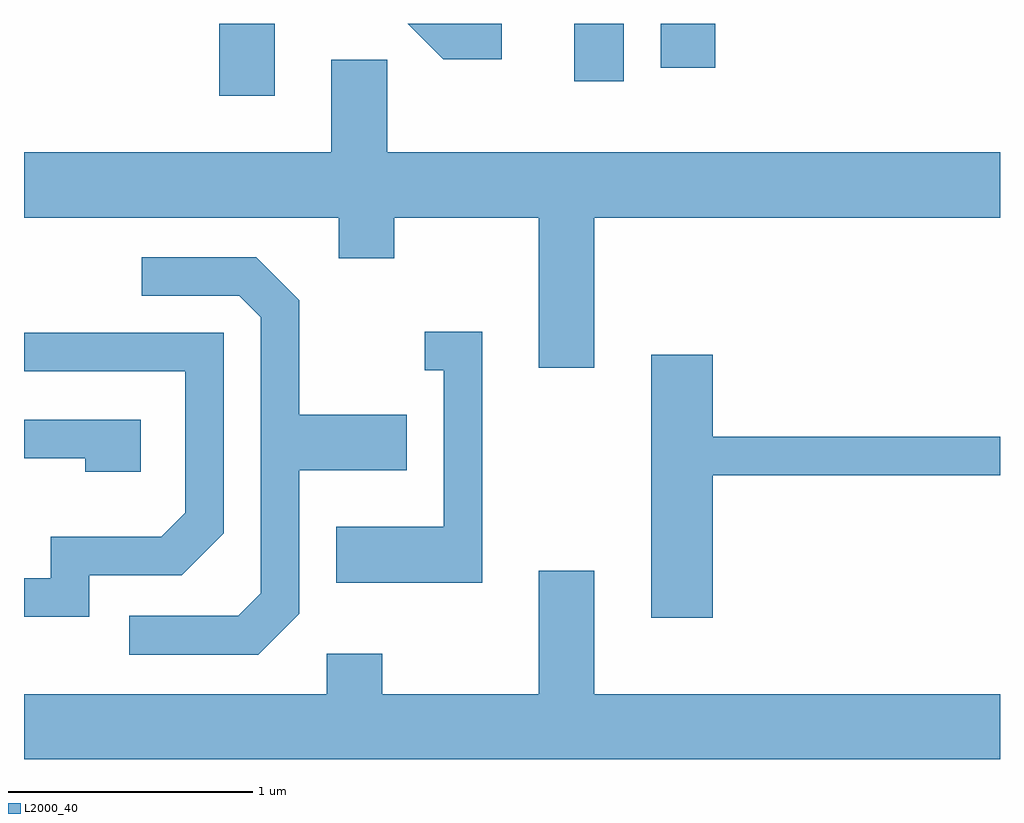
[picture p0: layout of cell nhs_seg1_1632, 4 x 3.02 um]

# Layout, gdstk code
import gdstk
lib = gdstk.Library(unit=1e-6, precision=1e-09)
def R(c, l, rs):  # rectangles x0, y0, x1, y1
    for r in rs: c.add(gdstk.rectangle(r[:2], r[2:], *l))
def P(c, l, *ps):  # polygons
    for p in ps: c.add(gdstk.Polygon(p, *l))
L2000_40 = (2000, 40)

nhs_seg1_1632 = lib.new_cell('nhs_seg1_1632')
R(nhs_seg1_1632, L2000_40, [(236.411,893.416,236.639,893.712), (237.866,893.476,238.069,893.712), (238.221,893.531,238.444,893.712)])
P(nhs_seg1_1632, L2000_40, [(237.568,893.712),(237.183,893.712),(237.329,893.566),(237.568,893.566)],
  [(237.099,893.564),(236.871,893.564),(236.871,893.184),(235.611,893.184),(235.611,892.916),(236.901,892.916),(236.901,892.751),(237.129,892.751),(237.129,892.916),(237.721,892.916),(237.721,892.301),(237.949,892.301),(237.949,892.916),(239.611,892.916),(239.611,893.184),(237.099,893.184)],
  [(236.739,891.294),(236.739,891.881),(237.179,891.881),(237.179,892.109),(236.739,892.109),(236.739,892.577),(236.562,892.754),(236.093,892.754),(236.093,892.596),(236.494,892.596),(236.581,892.509),(236.581,891.377),(236.489,891.284),(236.043,891.284),(236.043,891.126),(236.572,891.126)],
  [(237.489,892.449),(237.253,892.449),(237.253,892.291),(237.331,892.291),(237.331,891.649),(236.891,891.649),(236.891,891.421),(237.489,891.421)],
  [(235.879,891.451),(236.257,891.451),(236.429,891.624),(236.429,892.444),(235.611,892.444),(235.611,892.286),(236.271,892.286),(236.271,891.707),(236.174,891.609),(235.721,891.609),(235.721,891.439),(235.611,891.439),(235.611,891.281),(235.879,891.281)],
  [(238.434,891.861),(239.611,891.861),(239.611,892.019),(238.434,892.019),(238.434,892.354),(238.181,892.354),(238.181,891.276),(238.434,891.276)],
  [(236.089,892.089),(235.611,892.089),(235.611,891.931),(235.861,891.931),(235.861,891.876),(236.089,891.876)],
  [(239.611,890.964),(237.949,890.964),(237.949,891.469),(237.721,891.469),(237.721,890.964),(237.079,890.964),(237.079,891.129),(236.851,891.129),(236.851,890.964),(235.611,890.964),(235.611,890.696),(239.611,890.696)])

lib.write_gds('nhs_seg1_1632.gds')
